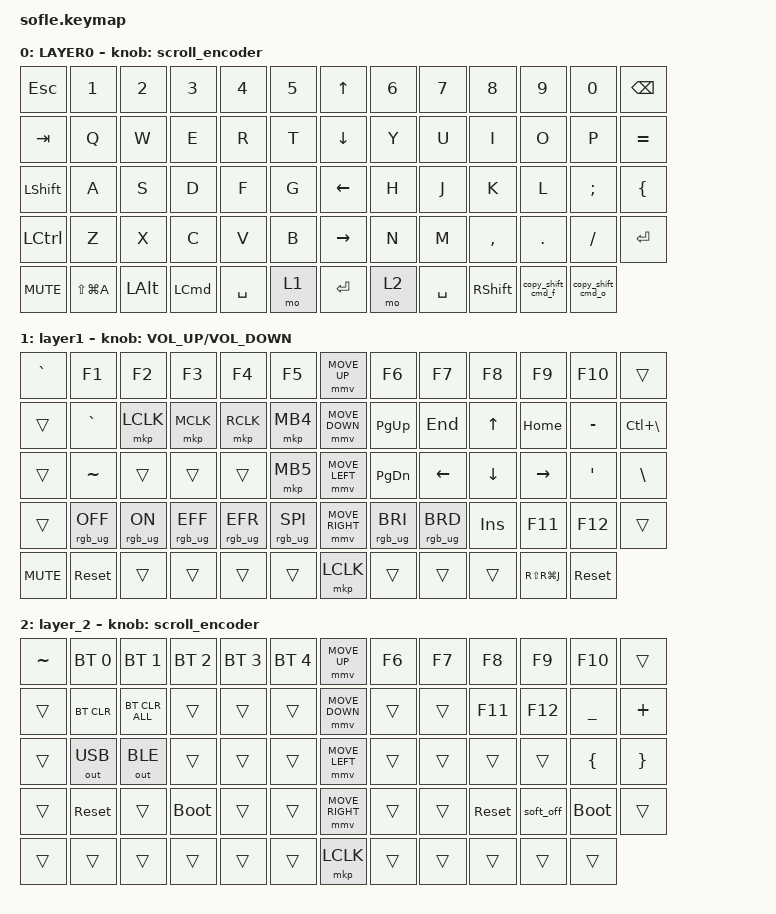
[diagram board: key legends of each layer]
#include <behaviors/mouse_keys.dtsi>
#include <behaviors.dtsi>
#include <dt-bindings/zmk/bt.h>
#include <dt-bindings/zmk/keys.h>
#include <dt-bindings/zmk/mouse.h>
#include <dt-bindings/zmk/outputs.h>
#include <dt-bindings/zmk/rgb.h>

#define U_MS_U &mmv MOVE_UP
#define U_MS_D &mmv MOVE_DOWN
#define U_MS_L &mmv MOVE_LEFT
#define U_MS_R &mmv MOVE_RIGHT
#define ZMK_MOUSE_DEFAULT_MOVE_VAL 1200  //  600
#define ZMK_MOUSE_DEFAULT_SCRL_VAL 50    // 10

/ {
    behaviors {
        mmv {
            acceleration-exponent = <1>;      // 1
            time-to-max-speed-ms = <900>;    // 40
            delay-ms = <0>;                   // 0
        };

        msc {
            acceleration-exponent = <1>;      // 0
            time-to-max-speed-ms = <200>;      // 500
            delay-ms = <0>;                   //   10
        };
    };

    scroll_encoder: scroll_encoder {
        compatible = "zmk,behavior-sensor-rotate";
        #sensor-binding-cells = <0>;
        bindings = <&msc SCRL_DOWN>, <&msc SCRL_UP>;

        tap-ms = <30>;
    };

    macros {
        copy_shift_cmd_f: copy_shift_cmd_f {
            compatible = "zmk,behavior-macro";
            #binding-cells = <0>;
            bindings = <&kp LG(C) &kp LS(LG(F)) &kp LG(V) &kp ENTER>;
            label = "COPY_SHIFT_CMD_F";
        };

        copy_shift_cmd_o: copy_shift_cmd_o {
            compatible = "zmk,behavior-macro";
            #binding-cells = <0>;
            bindings = <&kp LG(C) &kp LS(LG(O)) &kp LG(V) &kp ENTER>;
            label = "COPY_SHIFT_CMD_O";
        };
    };

    keymap {
        compatible = "zmk,keymap";

        layer0 {
            bindings = <
&kp ESC         &kp N1         &kp N2        &kp N3            &kp N4     &kp N5    &kp UP_ARROW     &kp N6  &kp N7     &kp N8           &kp N9             &kp N0             &kp BACKSPACE
&kp TAB         &kp Q          &kp W         &kp E             &kp R      &kp T     &kp DOWN_ARROW   &kp Y   &kp U      &kp I            &kp O              &kp P              &kp EQUAL
&kp LEFT_SHIFT  &kp A          &kp S         &kp D             &kp F      &kp G     &kp LEFT_ARROW   &kp H   &kp J      &kp K            &kp L              &kp SEMI           &kp LEFT_BRACE
&kp LCTRL       &kp Z          &kp X         &kp C             &kp V      &kp B     &kp RIGHT_ARROW  &kp N   &kp M      &kp COMMA        &kp DOT            &kp FSLH           &kp ENTER
&kp C_MUTE      &kp LS(LG(A))  &kp LEFT_ALT  &kp LEFT_COMMAND  &kp SPACE  &mo 1     &kp ENTER        &mo 2   &kp SPACE  &kp RIGHT_SHIFT  &copy_shift_cmd_f  &copy_shift_cmd_o
            >;

            sensor-bindings = <&scroll_encoder>;
            display-name = "LAYER0";
        };

        layer_1 {
            bindings = <
&kp GRAVE   &kp F1           &kp F2          &kp F3           &kp F4           &kp F5             &mmv MOVE_UP     &kp F6           &kp F7           &kp F8      &kp F9         &kp F10           &trans
&trans      &kp GRAVE        &mkp LCLK       &mkp MCLK        &mkp RCLK        &mkp MB4           &mmv MOVE_DOWN   &kp PG_UP        &kp END          &kp UP      &kp HOME       &kp MINUS         &kp LC(BACKSLASH)
&trans      &kp TILDE        &trans          &trans           &trans           &mkp MB5           &mmv MOVE_LEFT   &kp PG_DN        &kp LEFT         &kp DOWN    &kp RIGHT      &kp SINGLE_QUOTE  &kp BACKSLASH
&trans      &rgb_ug RGB_OFF  &rgb_ug RGB_ON  &rgb_ug RGB_EFF  &rgb_ug RGB_EFR  &rgb_ug RGB_SPI    &mmv MOVE_RIGHT  &rgb_ug RGB_BRI  &rgb_ug RGB_BRD  &kp INSERT  &kp F11        &kp F12           &trans
&kp C_MUTE  &sys_reset       &trans          &trans           &trans           &trans             &mkp LCLK        &trans           &trans           &trans      &kp RS(RG(J))  &sys_reset
            >;

            display-name = "layer1";
            sensor-bindings = <&inc_dec_kp C_VOLUME_UP C_VOLUME_DOWN>;
        };

        layer_2 {
            bindings = <
&kp TILDE  &bt BT_SEL 0  &bt BT_SEL 1    &bt BT_SEL 2  &bt BT_SEL 3  &bt BT_SEL 4    &mmv MOVE_UP     &kp F6  &kp F7  &kp F8      &kp F9     &kp F10      &trans
&trans     &bt BT_CLR    &bt BT_CLR_ALL  &trans        &trans        &trans          &mmv MOVE_DOWN   &trans  &trans  &kp F11     &kp F12    &kp UNDER    &kp PLUS
&trans     &out OUT_USB  &out OUT_BLE    &trans        &trans        &trans          &mmv MOVE_LEFT   &trans  &trans  &trans      &trans     &kp LBRC     &kp RBRC
&trans     &sys_reset    &trans          &bootloader   &trans        &trans          &mmv MOVE_RIGHT  &trans  &trans  &sys_reset  &soft_off  &bootloader  &trans
&trans     &trans        &trans          &trans        &trans        &trans          &mkp LCLK        &trans  &trans  &trans      &trans     &trans
            >;

            sensor-bindings = <&scroll_encoder>;
        };
    };
};
